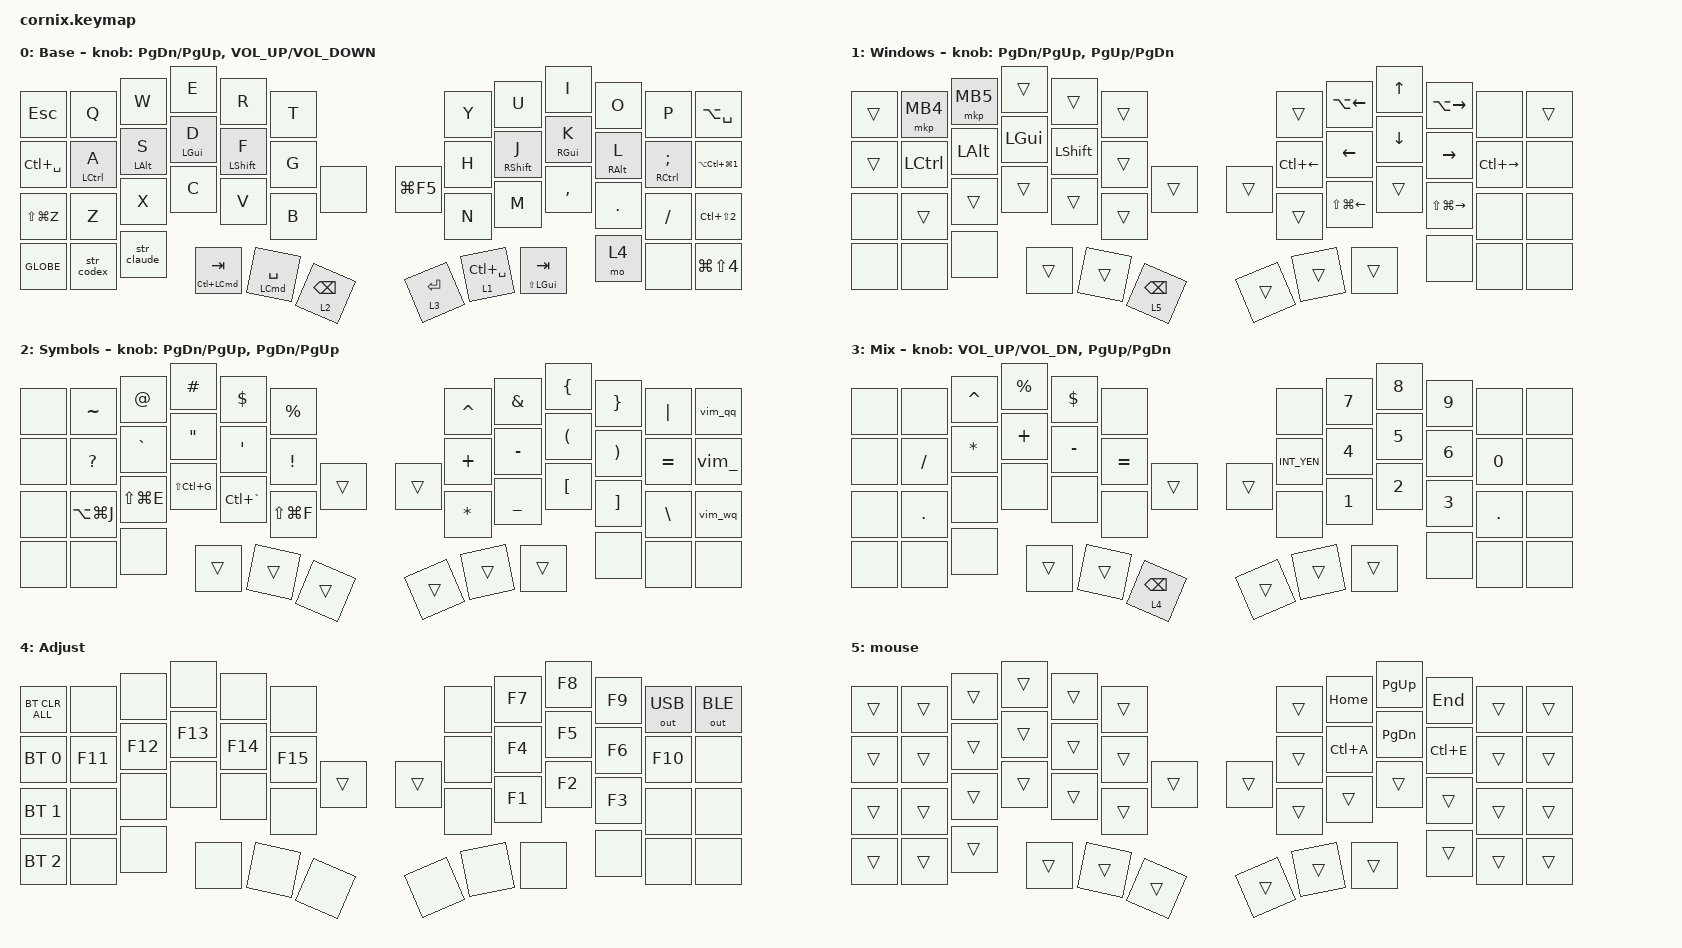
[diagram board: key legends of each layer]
/*
 * Copyright (c) 2020 The ZMK Contributors
 *
 * SPDX-License-Identifier: MIT
 */

#include "zmk-helpers/helper.h"
#include "includes/cornix54.h"

// tap windows for ctl alt and gui

#define HM_TAPPING_TERM 250
#define HM_TAPPING_REPEAT 210

// quick tapping for shift

#define HM_TAPPING_TERM_FAST 200
#define HM_PRIOR_IDLE 70
#define BASE 0
#define WIN 1
#define LOWER 2
#define RAISE 3
#define ADJUST 4
#define NAVI   5
#define NUM    6
#define DEBUG  7

// https://github.com/urob/zmk-config/tree/main#timeless-homerow-mods

#define KEYS_L LT0 LT1 LT2 LT3 LT4 LT5 LM0 LM1 LM2 LM3 LM4 LM5 LB0 LB1 LB2 LB3 LB4 LB5  // left hand
#define KEYS_R RT0 RT1 RT2 RT3 RT4 RT5 RM0 RM1 RM2 RM3 RM4 RM5 RB0 RB1 RB2 RB3 RB4 RB5  // right hand
#define THUMBS LH1 LH0 RH0 RH1
#define KEYS_T LH1 LH0 RH0 RH1
#define ZMK_POINTING_DEFAULT_SCRL_VAL 15

#include <behaviors.dtsi>
#include <dt-bindings/zmk/bt.h>
#include <dt-bindings/zmk/keys.h>
#include <dt-bindings/zmk/outputs.h>
#include <dt-bindings/zmk/pointing.h>

&lt { flavor = "hold-preferred"; };

&mt { quick-tap-ms = <0>; };

/ {
    // Activate ADJUST layer by pressing raise and lower

    behaviors {
        hm_l: homerow_mods_left {
            compatible = "zmk,behavior-hold-tap";
            #binding-cells = <2>;
            bindings = <&kp>, <&kp>;

            flavor = "tap-preferred";
            tapping-term-ms = <180>;
            quick-tap-ms = <300>;                // repeat on tap-into-hold
            require-prior-idle-ms = <80>;
            hold-trigger-key-positions = <KEYS_R KEYS_T 6 7 8 9 10 11 18 19 20 21 22 23 31 32 33 34 35 36 37 44 46 47 48 49 41 42 43>;
            hold-trigger-on-release;
        };

        hm_r: homerow_mods_right {
            compatible = "zmk,behavior-hold-tap";
            #binding-cells = <2>;
            bindings = <&kp>, <&kp>;

            flavor = "tap-preferred";
            tapping-term-ms = <180>;
            quick-tap-ms = <300>;
            require-prior-idle-ms = <100>;
            hold-trigger-key-positions = <KEYS_L KEYS_T 0 1 2 3 4 5 12 13 14 15 16 17 24 25 26 27 28 29 30 38 39 40 41 42 43 44 46>;
            hold-trigger-on-release;
        };

        // Positional Homerow mods for shift
        // Use faster tapping term and disable some features that may
        // cause false negatives.

        hm_shift_l: hm_shift_l {
            compatible = "zmk,behavior-hold-tap";
            #binding-cells = <2>;
            bindings = <&kp>, <&kp>;

            //flavor = "balanced";

            flavor = "tap-preferred";
            tapping-term-ms = <180>;
            quick-tap-ms = <300>;
            require-prior-idle-ms = <60>;
            hold-trigger-key-positions = <KEYS_R KEYS_T 41 42 43 44 46 6 7 8 9 10 11 18 19 20 21 22 23 32 33 34 35 36 37 46 47 48 49>;
            hold-trigger-on-release;
        };

        hm_shift_r: hm_shift_r {
            compatible = "zmk,behavior-hold-tap";
            #binding-cells = <2>;
            bindings = <&kp>, <&kp>;

            flavor = "tap-preferred";
            tapping-term-ms = <180>;
            quick-tap-ms = <300>;
            require-prior-idle-ms = <60>;
            hold-trigger-key-positions = <KEYS_L KEYS_T 38 39 40 41 42 43 44 46 0 1 2 3 4 5 12 13 14 15 16 17 24 25 26 27 28 29>;

            // for quick tapping; shift+~

            hold-trigger-on-release;
        };

        /*
         * Non-Positional Homerow Mods
         * Used for &mm_grescm_gui behavior on left hand.
         *
         * Usage: &hm LSHFT T
         * Tap: T
         * Tap-Tap-Hold: Repeat T
         * Hold: LSHIFT
         */

        thumb_cmd: homerow_mods {
            compatible = "zmk,behavior-hold-tap";
            #binding-cells = <2>;
            bindings = <&kp>, <&kp>;

            flavor = "hold-preferred";
            tapping-term-ms = <180>;
            quick-tap-ms = <200>;
            require-prior-idle-ms = <80>;
        };

        thumb_lt: thumb_lt {
            compatible = "zmk,behavior-hold-tap";
            label = "THUMB_LT";
            bindings = <&mo>, <&kp>;

            #binding-cells = <2>;
            tapping-term-ms = <180>;
            quick-tap-ms = <200>;
            flavor = "hold-preferred";
            require-prior-idle-ms = <50>;
        };

        lt_switch_macro: lt_switch_macro {
            compatible = "zmk,behavior-hold-tap";
            label = "LT_SWITCH_MACRO";
            bindings = <&mo>, <&ctrl_space>;

            #binding-cells = <2>;
            tapping-term-ms = <120>;
            quick-tap-ms = <200>;
            require-prior-idle-ms = <80>;
        };
    };

    conditional_layers { compatible = "zmk,conditional-layers"; };

    combos {
        compatible = "zmk,combos";

        mission_ctrl {
            bindings = <&kp LC(UP_ARROW)>;
            key-positions = <2 4 3>;
        };

        desk_prev {
            bindings = <&kp LC(LEFT_ARROW)>;
            key-positions = <14 16 15>;
        };

        desk_next {
            bindings = <&kp LC(RIGHT)>;
            key-positions = <17 16 15>;
        };

        desktop {
            bindings = <&kp F11>;
            key-positions = <26 27 28>;
        };
    };

    macros {
        str_claude: t_claude {
            compatible = "zmk,behavior-macro";
            #binding-cells = <0>;
            bindings = <&kp C &kp L &kp A &kp U &kp D &kp E>;
            label = "T_CLAUDE";
        };

        vim_: vim_q {
            compatible = "zmk,behavior-macro";
            #binding-cells = <0>;
            bindings = <&kp ESCAPE &kp COLON>;
            label = "VIM_Q";
        };

        vim_qq: vim_qq {
            compatible = "zmk,behavior-macro";
            #binding-cells = <0>;
            bindings = <&kp ESCAPE &kp COLON &kp Q &kp EXCL>;
            label = "VIM_QQ";
        };

        vim_wq: vim_wq {
            compatible = "zmk,behavior-macro";
            #binding-cells = <0>;
            bindings = <&kp ESCAPE &kp COLON &kp W &kp Q>;
            label = "VIM_WQ";
        };

        str_codex: codex {
            compatible = "zmk,behavior-macro";
            #binding-cells = <0>;
            bindings = <&kp C &kp O &kp D &kp E &kp X>;
            label = "CODEX";
        };

        ctrl_space: ctrl_space {
            compatible = "zmk,behavior-macro";
            #binding-cells = <0>;
            bindings =
                <&macro_press>,
                <&kp LCTRL>,
                <&macro_tap>,
                <&kp SPACE>,
                <&macro_release>,
                <&kp LCTRL>;

            label = "CTRL_SPACE";
            wait-ms = <50>;
            tap-ms = <30>;
        };
    };

    keymap {
        compatible = "zmk,keymap";

        default_layer {
            display-name = "Base";

            // ------------------------------------------------------------------------------------------------------------
            // |   `   |  1  |  2  |  3   |  4   |  5   |                   |  6   |  7    |  8    |  9   |   0   |       |
            // |  ESC  |  Q  |  W  |  E   |  R   |  T   |                   |  Y   |  U    |  I    |  O   |   P   | BKSPC |
            // |  TAB  |  A  |  S  |  D   |  F   |  G   |                   |  H   |  J    |  K    |  L   |   ;   |   '   |
            // | SHIFT |  Z  |  X  |  C   |  V   |  B   |  MUTE  |  |       |  N   |  M    |  ,    |  .   |   /   | SHIFT |
            //               | GUI | ALT  | CTRL | LOWER|  ENTER |  | SPACE | RAISE| CTRL  | ALT   | GUI  |

            bindings = <
&kp ESCAPE     &kp Q          &kp W         &kp E                            &kp R                          &kp T                                     &kp Y              &kp U                  &kp I                    &kp O         &kp P             &kp LA(SPACE)
&kp LC(SPACE)  &hm_l LCTRL A  &hm_l LALT S  &hm_l LGUI D                     &hm_shift_l LSHFT F            &kp G                                     &kp H              &hm_shift_r RSHFT J    &hm_r RGUI K             &hm_r RALT L  &hm_r RCTRL SEMI  &kp LA(LC(LG(NUMBER_1)))
&kp LS(LG(Z))  &kp Z          &kp X         &kp C                            &kp V                          &kp B                  &none  &kp LG(F5)  &kp N              &kp M                  &kp COMMA                &kp DOT       &kp FSLH          &kp LC(LS(NUMBER_2))
&kp GLOBE      &str_codex     &str_claude   &thumb_cmd LC(LEFT_COMMAND) TAB  &thumb_cmd LEFT_COMMAND SPACE  &thumb_lt 2 BACKSPACE                     &thumb_lt 3 ENTER  &thumb_lt 1 LC(SPACE)  &thumb_cmd LS(LGUI) TAB  &mo 4         &none             &kp LG(LS(N4))
            >;

            sensor-bindings =
                <&inc_dec_kp PAGE_DOWN PAGE_UP>,
                <&inc_dec_kp C_VOLUME_UP C_VOLUME_DOWN>;
        };

        arrow {
            display-name = "Windows";

            // ------------------------------------------------------------------------------------------------------------
            // |   `   |  1  |  2  |  3   |  4   |  5   |                   |  6   |  7    |  8    |  9   |   0   |       |
            // |  ESC  |  Q  |  W  |  E   |  R   |  T   |                   |  Y   |  U    |  I    |  O   |   P   | BKSPC |
            // |  TAB  |  A  |  S  |  D   |  F   |  G   |                   |  H   |  J    |  K    |  L   |   ;   |   '   |
            // | SHIFT |  Z  |  X  |  C   |  V   |  B   |  MUTE  |  |       |  N   |  M    |  ,    |  .   |   /   | SHIFT |
            //               | GUI | ALT  | CTRL | LOWER|  ENTER |  | SPACE | RAISE| CTRL  | ALT   | GUI  |

            bindings = <
&trans  &mkp MB4   &mkp MB5      &trans        &trans          &trans                                 &trans              &kp LA(LEFT)      &kp UP_ARROW    &kp LA(RIGHT)      &none          &trans
&trans  &kp LCTRL  &kp LEFT_ALT  &kp LEFT_GUI  &kp LEFT_SHIFT  &trans                                 &kp LC(LEFT_ARROW)  &kp LEFT_ARROW    &kp DOWN_ARROW  &kp RIGHT_ARROW    &kp LC(RIGHT)  &none
&none   &trans     &trans        &trans        &trans          &trans                 &trans  &trans  &trans              &kp LS(LG(LEFT))  &trans          &kp LS(LG(RIGHT))  &none          &none
&none   &none      &none         &trans        &trans          &thumb_lt 5 BACKSPACE                  &trans              &trans            &trans          &none              &none          &none
            >;

            sensor-bindings =
                <&inc_dec_kp PAGE_DOWN PAGE_UP>,
                <&inc_dec_kp PG_UP PG_DN>;
        };

        Symbol_layer {
            display-name = "Symbols";

            // TODO: Some binds are waiting for shifted keycode support.
            // -------------------------------
            // |       |  F1 |  F2 |  F3  |  F4  |  F5  |                   |  F6  |  F7   |  F8   |  F9  |  F10  |  F11  |
            // |   `   |  1  |  2  |  3   |  4   |  5   |                   |  6   |  7    |  8    |  9   |   0   |  F12  |
            // |       |  !  |  @  |  #   |  $   |  %   |                   |  ^   |  &    |  *    |  (   |   )   |   |   |
            // |       |  =  |  -  |  +   |  {   |  }   |        |  |       |  [   |  ]    |  ;    |  :   |   \   |       |
            //               |     |      |      |      |        |  |       |      |       |       |      |

            bindings = <
&none  &kp TILDE      &kp AT         &kp HASH           &kp DLLR       &kp PRCNT                        &kp CARET     &kp AMPS        &kp LEFT_BRACE        &kp RIGHT_BRACE        &kp PIPE       &vim_qq
&none  &kp QUESTION   &kp GRAVE      &kp DOUBLE_QUOTES  &kp SQT        &kp EXCLAMATION                  &kp PLUS      &kp MINUS       &kp LEFT_PARENTHESIS  &kp RIGHT_PARENTHESIS  &kp EQUAL      &vim_
&none  &kp LA(LG(J))  &kp LS(LG(E))  &kp LS(LC(G))      &kp LC(GRAVE)  &kp LS(LG(F))    &trans  &trans  &kp ASTERISK  &kp UNDERSCORE  &kp LEFT_BRACKET      &kp RIGHT_BRACKET      &kp BACKSLASH  &vim_wq
&none  &none          &none          &trans             &trans         &trans                           &trans        &trans          &trans                &none                  &none          &none
            >;

            sensor-bindings =
                <&inc_dec_kp PAGE_DOWN PG_UP>,
                <&inc_dec_kp PAGE_DOWN PG_UP>;
        };

        Num_layer {
            display-name = "Mix";

            // ------------------------------------------------------------------------------------------------------------
            // | BTCLR | BT1  | BT2  |  BT3  |  BT4  |  BT5 |                |      |      |       |      |       |       |
            // |       | INS  | PSCR | GUI   |       |      |                | PGUP |      |   ^   |      |       |       |
            // |       | ALT  | CTRL | SHIFT |       | CAPS |                | PGDN |   <- |   v   |  ->  |  DEL  | BKSPC |
            // |       | UNDO | CUT  | COPY  | PASTE |      |      |  |      |      |      |       |      |       |       |
            //                |      |       |       |      |      |  |      |      |      |       |      |

            bindings = <
&none  &none       &kp CARET  &kp PERCENT  &kp DOLLAR  &none                                  &none        &kp N7        &kp N8        &kp N9        &none       &none
&none  &kp SLASH   &kp ASTRK  &kp PLUS     &kp MINUS   &kp EQUAL                              &kp INT_YEN  &kp NUMBER_4  &kp N5        &kp NUMBER_6  &kp N0      &none
&none  &kp PERIOD  &none      &none        &none       &none                  &trans  &trans  &none        &kp NUMBER_1  &kp NUMBER_2  &kp NUMBER_3  &kp PERIOD  &none
&none  &none       &none      &trans       &trans      &thumb_lt 4 BACKSPACE                  &trans       &trans        &trans        &none         &none       &none
            >;

            sensor-bindings = <&inc_dec_kp C_VOL_UP C_VOL_DN &inc_dec_kp PG_UP PG_DN>;
        };

        func_layer {
            display-name = "Adjust";

            // ----------------------------------------------------------------------------------------------------------------------------
            // | BTCLR  |  BT1    |  BT2    |   BT3   |   BT4   |   BT5   |                  |      |      |       |      |       |       |
            // | moDEBUG| RGB_HUD | RGB_HUI | RGB_SAD | RGB_SAI | RGB_EFF |                  |      |      |       |      |       |       |
            // | EXTPWR | RGB_BRD | RGB_BRI |         |         |         |                  |      |      |       |      |       |       |
            // |        |         |         |         |         |         | RGB_TOG | |      |      |      |       |      |       |       |
            //                    |         |         |         |         |         | |      |      |      |       |      |

            bindings = <
&bt BT_CLR_ALL  &none    &none    &none    &none    &none                    &none  &kp F7  &kp F8  &kp F9  &out OUT_USB  &out OUT_BLE
&bt BT_SEL 0    &kp F11  &kp F12  &kp F13  &kp F14  &kp F15                  &none  &kp F4  &kp F5  &kp F6  &kp F10       &none
&bt BT_SEL 1    &none    &none    &none    &none    &none    &trans  &trans  &none  &kp F1  &kp F2  &kp F3  &none         &none
&bt BT_SEL 2    &none    &none    &none    &none    &none                    &none  &none   &none   &none   &none         &none
            >;
        };

        mouse {
            bindings = <
&trans  &trans  &trans  &trans  &trans  &trans                  &trans  &kp HOME   &kp PAGE_UP    &kp END    &trans  &trans
&trans  &trans  &trans  &trans  &trans  &trans                  &trans  &kp LC(A)  &kp PAGE_DOWN  &kp LC(E)  &trans  &trans
&trans  &trans  &trans  &trans  &trans  &trans  &trans  &trans  &trans  &trans     &trans         &trans     &trans  &trans
&trans  &trans  &trans  &trans  &trans  &trans                  &trans  &trans     &trans         &trans     &trans  &trans
            >;
        };
    };
};
